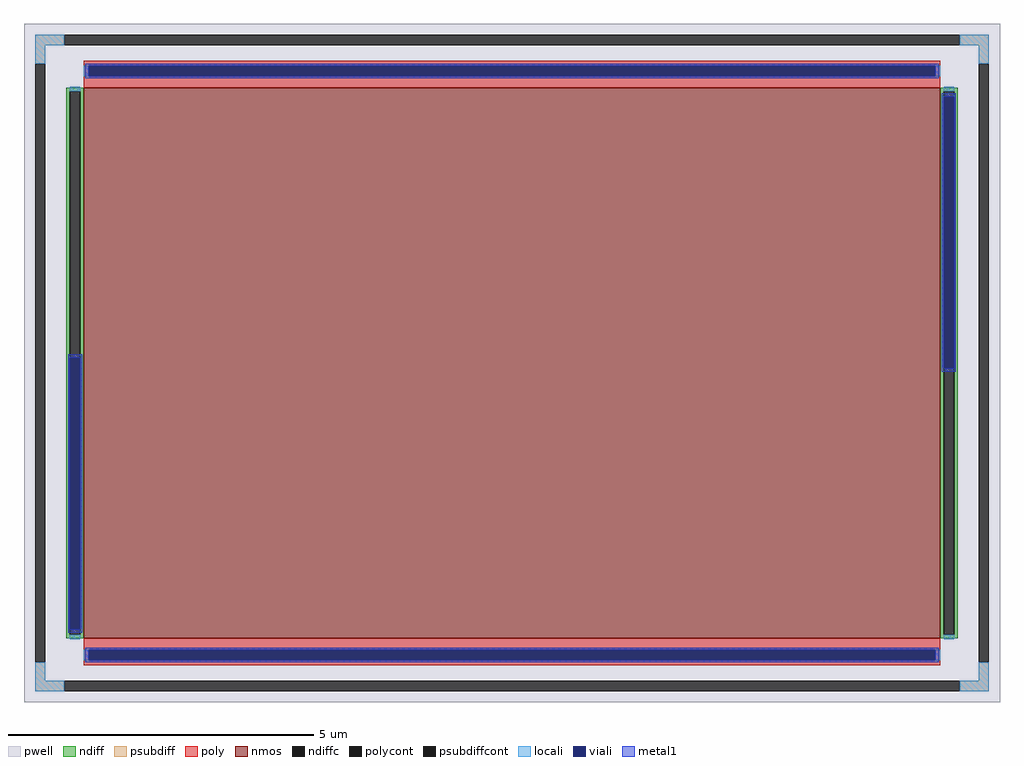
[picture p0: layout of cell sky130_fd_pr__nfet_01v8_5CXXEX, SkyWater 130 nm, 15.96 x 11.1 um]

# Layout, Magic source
magic
tech sky130A
magscale 1 2
<< pwell >>
rect -1596 -1110 1596 1110
<< nmos >>
rect -1400 -900 1400 900
<< ndiff >>
rect -1458 888 -1400 900
rect -1458 -888 -1446 888
rect -1412 -888 -1400 888
rect -1458 -900 -1400 -888
rect 1400 888 1458 900
rect 1400 -888 1412 888
rect 1446 -888 1458 888
rect 1400 -900 1458 -888
<< ndiffc >>
rect -1446 -888 -1412 888
rect 1412 -888 1446 888
<< psubdiff >>
rect -1560 1040 -1464 1074
rect 1464 1040 1560 1074
rect -1560 978 -1526 1040
rect 1526 978 1560 1040
rect -1560 -1040 -1526 -978
rect 1526 -1040 1560 -978
rect -1560 -1074 -1464 -1040
rect 1464 -1074 1560 -1040
<< psubdiffcont >>
rect -1464 1040 1464 1074
rect -1560 -978 -1526 978
rect 1526 -978 1560 978
rect -1464 -1074 1464 -1040
<< poly >>
rect -1400 972 1400 988
rect -1400 938 -1384 972
rect 1384 938 1400 972
rect -1400 900 1400 938
rect -1400 -938 1400 -900
rect -1400 -972 -1384 -938
rect 1384 -972 1400 -938
rect -1400 -988 1400 -972
<< polycont >>
rect -1384 938 1384 972
rect -1384 -972 1384 -938
<< locali >>
rect -1560 1040 -1464 1074
rect 1464 1040 1560 1074
rect -1560 978 -1526 1040
rect 1526 978 1560 1040
rect -1400 938 -1384 972
rect 1384 938 1400 972
rect -1446 888 -1412 904
rect -1446 -904 -1412 -888
rect 1412 888 1446 904
rect 1412 -904 1446 -888
rect -1400 -972 -1384 -938
rect 1384 -972 1400 -938
rect -1560 -1040 -1526 -978
rect 1526 -1040 1560 -978
rect -1560 -1074 -1464 -1040
rect 1464 -1074 1560 -1040
<< viali >>
rect -1384 938 1384 972
rect -1446 -871 -1412 17
rect 1412 -17 1446 871
rect -1384 -972 1384 -938
<< metal1 >>
rect -1396 972 1396 978
rect -1396 938 -1384 972
rect 1384 938 1396 972
rect -1396 932 1396 938
rect 1406 871 1452 883
rect -1452 17 -1406 29
rect -1452 -871 -1446 17
rect -1412 -871 -1406 17
rect 1406 -17 1412 871
rect 1446 -17 1452 871
rect 1406 -29 1452 -17
rect -1452 -883 -1406 -871
rect -1396 -938 1396 -932
rect -1396 -972 -1384 -938
rect 1384 -972 1396 -938
rect -1396 -978 1396 -972
<< properties >>
string FIXED_BBOX -1543 -1057 1543 1057
string gencell sky130_fd_pr__nfet_01v8
string library sky130
string parameters w 9 l 14 m 1 nf 1 diffcov 100 polycov 100 guard 1 glc 1 grc 1 gtc 1 gbc 1 tbcov 100 rlcov 100 topc 1 botc 1 poverlap 0 doverlap 1 lmin 0.15 wmin 0.42 compatible {sky130_fd_pr__nfet_01v8 sky130_fd_pr__nfet_01v8_lvt  sky130_fd_bs_flash__special_sonosfet_star  sky130_fd_pr__nfet_g5v0d10v5 sky130_fd_pr__nfet_05v0_nvt  sky130_fd_pr__nfet_03v3_nvt} full_metal 1 viasrc -50 viadrn +50 viagate 100 viagb 0 viagr 0 viagl 0 viagt 0
<< end >>
